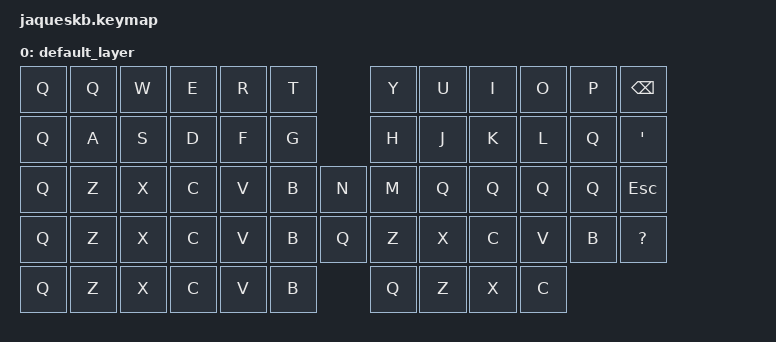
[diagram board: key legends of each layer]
#include <behaviors.dtsi>
#include <dt-bindings/zmk/keys.h>
#include <dt-bindings/zmk/bt.h>

/ {
    keymap {
        compatible = "zmk,keymap";

        default_layer { // Layer 0
        // | SW1  | SW2  | SW3  | SW4  | SW5  | SW6  |                 | SW6  | SW5  | SW4  | SW3  | SW2  | SW1  |
        // | SW7  | SW8  | SW9  | SW10 | SW11 | SW12 |                 | SW12 | SW11 | SW10 | SW9  | SW8  | SW7  |
        // | SW13 | SW14 | SW15 | SW16 | SW17 | SW18 |          | SW19 | SW18 | SW17 | SW16 | SW15 | SW14 | SW13 |
        // | SW19 | SW20 | SW21 | SW22 | SW23 | SW24 |          | SW26 | SW25 | SW24 | SW23 | SW22 | SW21 | SW20 |
        // | SW25 | SW26 | SW27 | SW28 | SW29 | SW30 |                 | SW30 | SW29 | SW28 | SW27 |
        
            bindings = <
                &kp Q &kp Q &kp W &kp E &kp R &kp T         &kp Y &kp U &kp I &kp O &kp P &kp BSPC
                &kp Q &kp A &kp S &kp D &kp F &kp G         &kp H &kp J &kp K &kp L &kp Q &kp SQT
                &kp Q &kp Z &kp X &kp C &kp V &kp B   &kp N &kp M &kp Q &kp Q &kp Q &kp Q &kp ESC
                &kp Q &kp Z &kp X &kp C &kp V &kp B   &kp Q &kp Z &kp X &kp C &kp V &kp B &kp QUESTION
                &kp Q &kp Z &kp X &kp C &kp V &kp B         &kp Q &kp Z &kp X &kp C
            >;
        };
    };
 };
